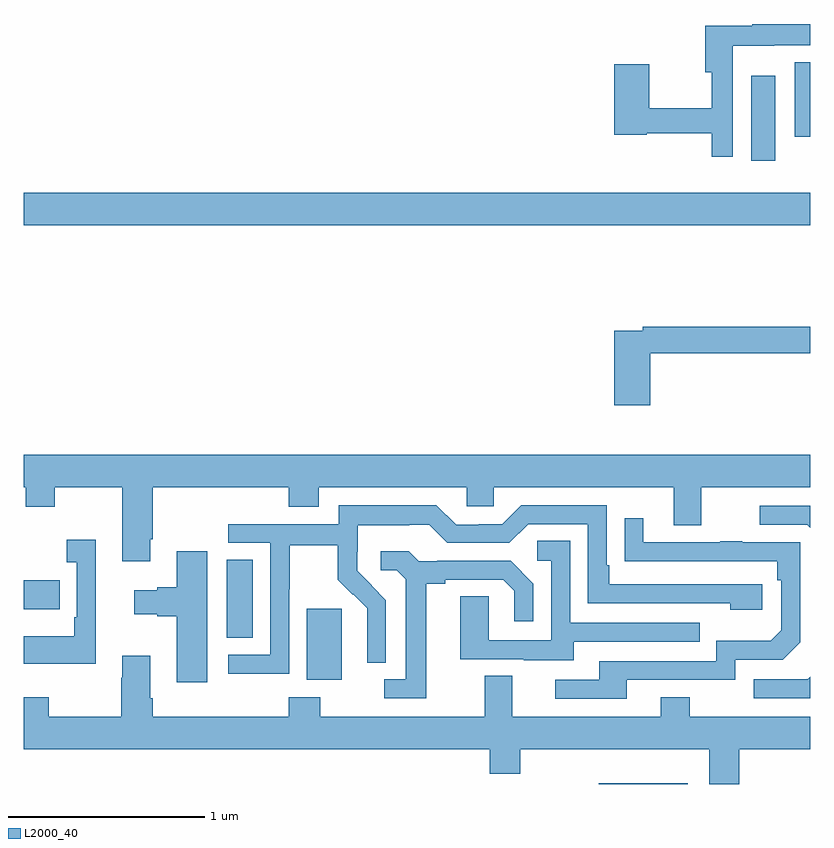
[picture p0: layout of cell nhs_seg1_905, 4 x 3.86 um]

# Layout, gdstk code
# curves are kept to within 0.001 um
import gdstk
lib = gdstk.Library(unit=1e-6, precision=1e-09)
def R(c, l, rs):  # rectangles x0, y0, x1, y1
    for r in rs: c.add(gdstk.rectangle(r[:2], r[2:], *l))
def P(c, l, *ps):  # polygons
    for p in ps: c.add(gdstk.Polygon(p, *l))
L2000_40 = (2000, 40)

nhs_seg1_905 = lib.new_cell('nhs_seg1_905')
R(nhs_seg1_905, L2000_40, [(161.925,574.199,162.376,574.204), (160.439,574.73,160.618,575.091), (160.034,574.942,160.165,575.339), (159,575.087,159.185,575.235), (159,577.04,163,577.204), (162.698,577.368,162.82,577.798), (162.92,577.488,163,577.868)])
P(nhs_seg1_905, L2000_40, [(162.606,577.952),(162.816,577.952),(162.816,577.953),(163,577.953),(163,578.062),(162.703,578.062),(162.703,578.052),(162.464,578.052),(162.464,577.817),(162.498,577.817),(162.498,577.634),(162.18,577.634),(162.18,577.858),(162.002,577.858),(162.002,577.498),(162.168,577.498),(162.168,577.506),(162.498,577.506),(162.498,577.386),(162.606,577.386)],
  [(162.185,576.388),(163,576.388),(163,576.524),(162.148,576.524),(162.148,576.504),(162.002,576.504),(162.002,576.123),(162.185,576.123)],
  [(159.643,575.443),(159.656,575.443),(159.656,575.708),(160.349,575.708),(160.349,575.609),(160.501,575.609),(160.501,575.708),(161.253,575.708),(161.253,575.61),(161.391,575.61),(161.391,575.708),(162.305,575.708),(162.305,575.514),(162.445,575.514),(162.445,575.708),(163,575.708),(163,575.872),(159,575.872),(159,575.708),(159.011,575.708),(159.011,575.609),(159.159,575.609),(159.159,575.708),(159.503,575.708),(159.503,575.331),(159.643,575.331)],
  [(160.35,575.188),(160.353,575.188),(160.353,575.412),(160.597,575.412),(160.597,575.237),(160.674,575.16),(160.677,575.163),(160.748,575.093),(160.748,574.97),(160.746,574.97),(160.746,574.816),(160.842,574.816),(160.842,575.134),(160.696,575.282),(160.696,575.379),(160.698,575.379),(160.698,575.513),(160.961,575.513),(160.961,575.517),(161.061,575.517),(161.154,575.424),(161.469,575.424),(161.565,575.52),(161.868,575.52),(161.868,575.118),(162.593,575.118),(162.593,575.084),(162.754,575.084),(162.754,575.214),(161.977,575.214),(161.977,575.311),(161.964,575.311),(161.964,575.616),(161.529,575.616),(161.433,575.52),(161.315,575.52),(161.315,575.517),(161.199,575.517),(161.099,575.617),(160.602,575.617),(160.602,575.52),(160.041,575.52),(160.041,575.424),(160.254,575.424),(160.254,574.857),(160.041,574.857),(160.041,574.759),(160.35,574.759)],
  [(163,575.613),(162.741,575.613),(162.741,575.517),(162.984,575.517),(163,575.501)],
  [(162.067,574.728),(162.618,574.728),(162.618,574.83),(162.858,574.83),(162.948,574.92),(162.948,575.427),(162.653,575.427),(162.653,575.432),(162.541,575.432),(162.541,575.427),(162.151,575.427),(162.151,575.551),(162.055,575.551),(162.055,575.332),(162.832,575.331),(162.832,575.234),(162.852,575.234),(162.852,574.98),(162.799,574.927),(162.522,574.927),(162.522,574.824),(161.927,574.824),(161.927,574.728),(161.703,574.728),(161.703,574.632),(162.067,574.632)],
  [(159.368,575.44),(159.219,575.44),(159.219,575.327),(159.27,575.327),(159.27,575.047),(159.258,575.047),(159.258,574.951),(159.001,574.951),(159.001,574.811),(159.368,574.811)],
  [(161.797,574.923),(162.437,574.923),(162.437,575.019),(161.778,575.019),(161.778,575.435),(161.61,575.435),(161.61,575.334),(161.682,575.334),(161.682,574.929),(161.364,574.929),(161.364,575.153),(161.219,575.153),(161.219,574.833),(161.543,574.833),(161.543,574.829),(161.797,574.829)],
  [(161.047,575.216),(161.143,575.216),(161.143,575.238),(161.438,575.238),(161.495,575.181),(161.495,575.025),(161.592,575.025),(161.592,575.218),(161.476,575.334),(161.104,575.334),(161.104,575.331),(161.01,575.331),(160.958,575.383),(160.815,575.383),(160.815,575.286),(160.896,575.286),(160.943,575.239),(160.943,574.731),(160.833,574.731),(160.833,574.635),(161.047,574.635)],
  [(159.934,575.383),(159.779,575.383),(159.779,575.198),(159.68,575.198),(159.68,575.185),(159.564,575.185),(159.564,575.063),(159.68,575.063),(159.68,575.051),(159.779,575.051),(159.779,574.716),(159.934,574.716)],
  [(162.638,574.376),(163,574.376),(163,574.54),(162.387,574.54),(162.387,574.639),(162.239,574.639),(162.239,574.54),(161.485,574.54),(161.485,574.748),(161.345,574.748),(161.345,574.54),(160.509,574.54),(160.509,574.639),(160.349,574.639),(160.349,574.54),(159.656,574.54),(159.656,574.636),(159.643,574.636),(159.643,574.852),(159.503,574.852),(159.503,574.739),(159.496,574.739),(159.496,574.54),(159.129,574.54),(159.129,574.639),(159,574.639),(159,574.376),(161.369,574.376),(161.369,574.252),(161.525,574.252),(161.525,574.376),(162.485,574.376),(162.485,574.199),(162.638,574.199)],
  [(163,574.744),(162.987,574.731),(162.711,574.731),(162.711,574.635),(163,574.635)])

lib.write_gds('nhs_seg1_905.gds')
